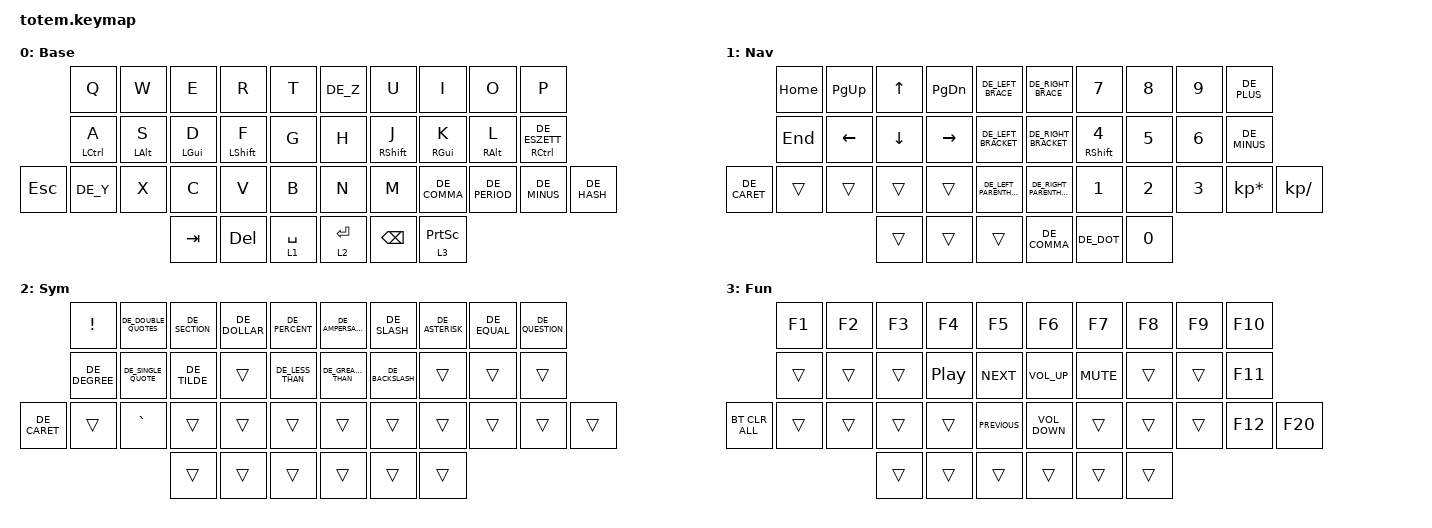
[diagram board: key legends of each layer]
//
//                                                        ▀▀▀▀▀     ▀▀▀▀▀          ▀▀█▀▀
//                                                        ▄▀▀▀▄  ▄  ▄▀▀▀▄  ▄  ▄▀▀▀▄  █  ▄▀▀▀▄
//                                                        █   █  █  █   █  █  █   █  █  █   █
//                                                         ▀▀▀   █   ▀▀▀   █   ▀▀▀   ▀   ▀▀▀
//                                                               █      ▄▄▄█▄▄▄    █   █  
//                                                               ▀      █  █  █     █▄█
//                                                             ▀▀▀▀▀    █  █  █      ▀
//                                                                      ▀  ▀  ▀
//
// ▄▄▄▄▄▄▄▄▄▄▄▄▄▄▄▄▄▄▄▄▄▄▄▄▄▄▄▄▄▄▄▄▄▄▄▄▄▄▄▄▄▄▄▄▄▄▄▄▄▄▄▄▄▄▄▄▄▄▄▄▄▄▄▄▄▄▄▄▄▄▄▄▄▄▄▄▄▄▄▄▄▄▄▄▄▄▄▄▄▄▄▄▄▄▄▄▄▄▄▄▄▄▄▄▄▄▄▄▄▄▄▄▄▄▄▄▄▄▄▄▄▄▄▄▄▄▄▄▄▄▄▄▄▄▄▄▄▄▄▄▄▄▄▄▄▄▄▄▄

#include "keys_de.h"
#include <behaviors.dtsi>
#include <dt-bindings/zmk/bt.h>
#include <dt-bindings/zmk/keys.h>

#define Base        0
#define Nav         1
#define Sym         2
#define Fun         3
#define Game        4
#define Gameplus    5

&mt {
    quick-tap-ms = <100>;
    global-quick-tap;
    flavor = "tap-preferred";
    tapping-term-ms = <170>;
};

&lt {
    tapping-term-ms = <240>;
    flavor = "balanced";
    quick-tap-ms = <150>;
};

/ {
    behaviors {
        hm: homerow_mods {
            compatible = "zmk,behavior-hold-tap";
            label = "HOMEROW_MODS";
            #binding-cells = <2>;
            flavor = "tap-preferred";
            tapping-term-ms = <200>;
            quick-tap-ms = <125>;
            global-quick-tap;
            bindings = <&kp>, <&kp>;
        };
    };

    combos {
        compatible = "zmk,combos";

        combo_ue {
            timeout-ms = <50>;
            key-positions = <2 6>;
            bindings = <&kp DE_U_UMLAUT>;
        };

        combo_oe {
            timeout-ms = <50>;
            key-positions = <2 8>;
            bindings = <&kp DE_O_UMLAUT>;
        };

        combo_ae {
            timeout-ms = <50>;
            key-positions = <2 10>;
            bindings = <&kp DE_A_UMLAUT>;
        };
    };

    keymap {
        compatible = "zmk,keymap";

        Base {
            display-name = "Base";
            bindings = <
            &kp Q               &kp W       &kp E           &kp R         &kp T          &kp DE_Z   &kp U        &kp I              &kp O          &kp P
            &hm LEFT_CONTROL A  &hm LALT S  &hm LEFT_GUI D  &hm LSHIFT F  &kp G          &kp H      &hm RSHFT J  &hm RIGHT_GUI K    &hm RALT L     &hm RIGHT_CONTROL DE_ESZETT
&kp ESCAPE  &kp DE_Y            &kp X       &kp C           &kp V         &kp B          &kp N      &kp M        &kp DE_COMMA       &kp DE_PERIOD  &kp DE_MINUS                 &kp DE_HASH
                                            &kp TAB         &kp DELETE    &lt 1 SPACE    &lt 2 RET  &kp BSPC     &lt 3 PRINTSCREEN
            >;
        };

        Nav {
            display-name = "Nav";
            bindings = <
              &kp HOME  &kp PAGE_UP  &kp UP_ARROW  &kp PAGE_DOWN  &kp DE_LEFT_BRACE          &kp DE_RIGHT_BRACE        &kp NUMBER_7              &kp NUMBER_8  &kp NUMBER_9  &kp DE_PLUS
              &kp END   &kp LEFT     &kp DOWN      &kp RIGHT      &kp DE_LEFT_BRACKET        &kp DE_RIGHT_BRACKET      &hm RIGHT_SHIFT NUMBER_4  &kp NUMBER_5  &kp NUMBER_6  &kp DE_MINUS
&kp DE_CARET  &trans    &trans       &trans        &trans         &kp DE_LEFT_PARENTHESIS    &kp DE_RIGHT_PARENTHESIS  &kp NUMBER_1              &kp NUMBER_2  &kp NUMBER_3  &kp KP_MULTIPLY  &kp KP_DIVIDE
                                     &trans        &trans         &trans                     &kp DE_COMMA              &kp DE_DOT                &kp NUMBER_0
            >;
        };

        Sym {
            display-name = "Sym";
            bindings = <
              &kp EXCL       &kp DE_DOUBLE_QUOTES  &kp DE_SECTION  &kp DE_DOLLAR  &kp DE_PERCENT      &kp DE_AMPERSAND     &kp DE_SLASH      &kp DE_ASTERISK  &kp DE_EQUAL  &kp DE_QUESTION
              &kp DE_DEGREE  &kp DE_SINGLE_QUOTE   &kp DE_TILDE    &trans         &kp DE_LESS_THAN    &kp DE_GREATER_THAN  &kp DE_BACKSLASH  &trans           &trans        &trans
&kp DE_CARET  &trans         &kp GRAVE             &trans          &trans         &trans              &trans               &trans            &trans           &trans        &trans           &trans
                                                   &trans          &trans         &trans              &trans               &trans            &trans
            >;
        };

        Fun {
            display-name = "Fun";
            bindings = <
                &kp F1  &kp F2  &kp F3  &kp F4            &kp F5            &kp F6             &kp F7      &kp F8  &kp F9  &kp F10
                &trans  &trans  &trans  &kp C_PLAY_PAUSE  &kp C_NEXT        &kp C_VOLUME_UP    &kp C_MUTE  &trans  &trans  &kp F11
&bt BT_CLR_ALL  &trans  &trans  &trans  &trans            &kp C_PREVIOUS    &kp C_VOLUME_DOWN  &trans      &trans  &trans  &kp F12  &kp F20
                                &trans  &trans            &trans            &trans             &trans      &trans
            >;
        };
    };
};
